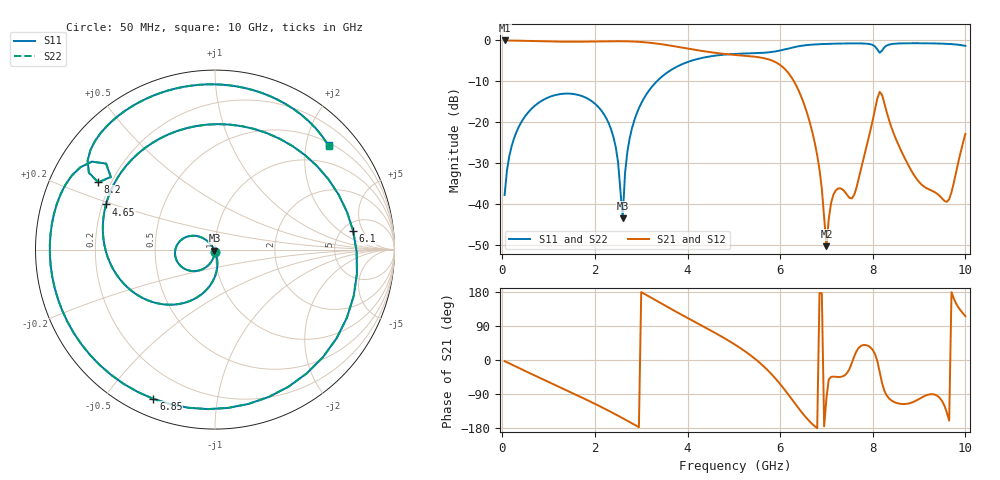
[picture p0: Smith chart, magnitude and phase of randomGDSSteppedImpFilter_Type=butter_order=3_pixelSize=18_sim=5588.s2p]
! freq	dB(S11)	phase(S11)	dB(S12)	phase(S12)
!  dB(S21)	phase(S21)	dB(S22)	phase(S22)
!S-par simulation data
#  GHz  S  DB  R 50
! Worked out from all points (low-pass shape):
!   200 points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, 50 MHz to 10 GHz, reference 50 ohm
!   highest |S21| = -0.01 dB at 50 MHz (marker M1); lowest = -50.3 dB at 7 GHz (marker M2)
!   |S21| within 3 dB of the highest: start of sweep to 4.581 GHz
!   lowest |S11| = -43.4 dB at 2.6 GHz (marker M3), VSWR 1.01, Z = 49.7 - j0.606 ohm
!   |S11| at or under -10 dB: start of sweep to 3.336 GHz
!   |S22| runs from -43.1 to -0.7 dB; largest |S21 - S12| = 0
!   S11 on the Smith chart (normalised r, x): 50 MHz: 1.00, -0.03; 4.65 GHz: 0.21, +0.19; 6.1 GHz: 6.25, +3.24; 6.85 GHz: 0.08, -0.67; 8.2 GHz: 0.15, +0.26; 10 GHz: 0.56, +2.46
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0.05  -37.79 -92.3  -0.01 -3.0  -0.01 -3.0  -37.79 -92.3
0.2  -25.92 -101.9  -0.03 -11.9  -0.03 -11.9  -25.92 -101.9
0.55  -17.71 -122.7  -0.12 -32.3  -0.12 -32.3  -17.70 -122.7
1.75  -13.73 168.9  -0.31 -100.8  -0.31 -100.8  -13.73 168.9
2.35  -21.75 134.2  -0.20 -137.3  -0.20 -137.3  -21.74 134.5
2.6  -43.43 -115.3  -0.20 -153.6  -0.20 -153.6  -43.12 -117.0
2.65  -32.50 -78.0  -0.21 -156.9  -0.21 -156.9  -32.47 -79.0
2.8  -21.48 -80.8  -0.26 -167.1  -0.26 -167.1  -21.48 -81.1
3.4  -9.30 -119.9  -0.86 151.5  -0.86 151.5  -9.30 -120.0
4.65  -3.64 157.5  -3.11 67.8  -3.11 67.8  -3.64 157.5
5.05  -3.28 128.6  -3.57 38.7  -3.57 38.7  -3.28 128.6
5.65  -3.01 72.0  -4.34 -17.4  -4.34 -17.4  -3.01 72.0
6.1  -2.19 7.6  -6.97 -78.9  -6.97 -78.9  -2.19 7.7
6.7  -1.02 -92.6  -22.65 -169.8  -22.65 -169.8  -1.02 -92.5
6.85  -0.92 -112.4  -31.61 176.9  -31.61 176.9  -0.92 -112.3
7  -0.85 -129.7  -50.27 -99.8  -50.27 -99.8  -0.85 -129.6
7.15  -0.80 -144.8  -37.69 -43.9  -37.69 -43.9  -0.80 -144.8
7.6  -0.72 178.2  -37.71 9.6  -37.71 9.6  -0.72 178.2
8.2  -2.49 150.0  -13.30 -60.9  -13.30 -60.9  -2.50 150.1
8.35  -1.02 141.3  -19.41 -101.2  -19.41 -101.2  -1.03 141.3
9.6  -0.83 70.4  -39.44 -138.9  -39.44 -138.9  -0.83 70.4
10  -1.33 42.5  -22.85 115.8  -22.85 115.8  -1.33 42.4
